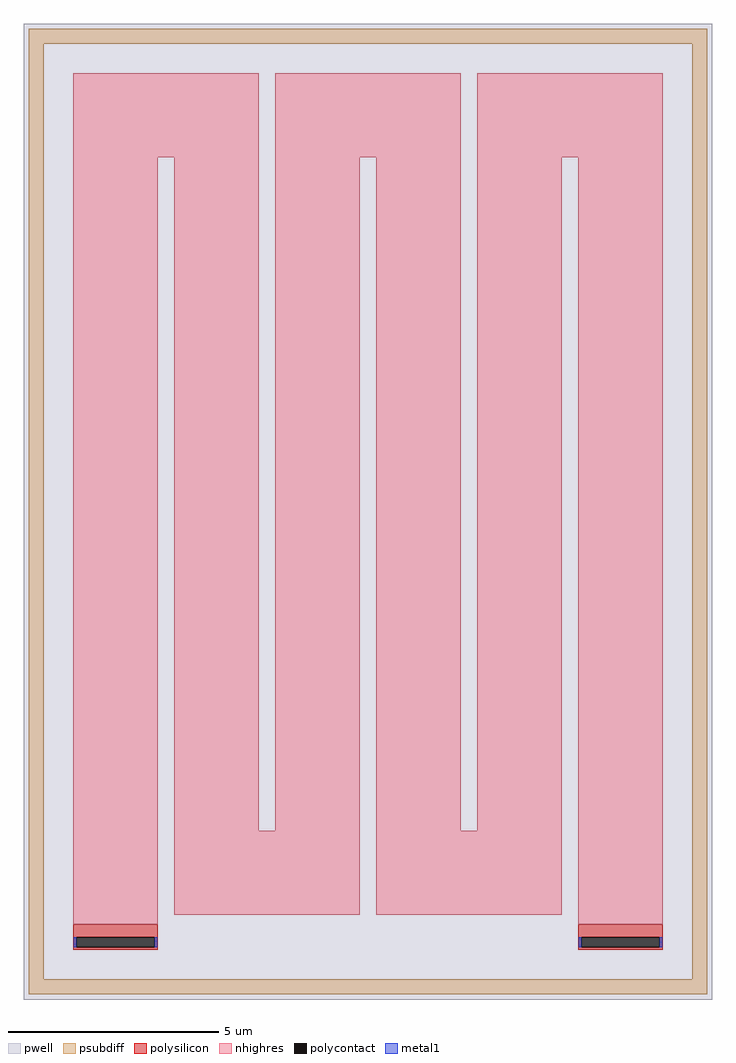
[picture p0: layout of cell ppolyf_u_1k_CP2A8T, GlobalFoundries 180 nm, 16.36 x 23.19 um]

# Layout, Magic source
magic
tech gf180mcuD
magscale 1 10
<< pwell >>
rect -1636 -2319 1636 2319
<< psubdiff >>
rect -1612 2223 1612 2295
rect -1612 -2223 -1540 2223
rect 1540 -2223 1612 2223
rect -1612 -2295 1612 -2223
<< polysilicon >>
rect -1400 -2024 -1000 -1961
rect -1400 -2070 -1387 -2024
rect -1013 -2070 -1000 -2024
rect -1400 -2083 -1000 -2070
rect 1000 -2024 1400 -1961
rect 1000 -2070 1013 -2024
rect 1387 -2070 1400 -2024
rect 1000 -2083 1400 -2070
<< polycontact >>
rect -1387 -2070 -1013 -2024
rect 1013 -2070 1387 -2024
<< nhighres >>
rect -1400 1683 -520 2083
rect -1400 -1961 -1000 1683
rect -920 -1517 -520 1683
rect -440 1683 440 2083
rect -440 -1517 -40 1683
rect -920 -1917 -40 -1517
rect 40 -1517 440 1683
rect 520 1683 1400 2083
rect 520 -1517 920 1683
rect 40 -1917 920 -1517
rect 1000 -1961 1400 1683
<< metal1 >>
rect -1398 -2070 -1387 -2024
rect -1013 -2070 -1002 -2024
rect 1002 -2070 1013 -2024
rect 1387 -2070 1398 -2024
<< properties >>
string FIXED_BBOX -1576 -2259 1576 2259
string gencell ppolyf_u_1k
string library gf180mcu
string parameters w 2 l 20 m 1 nx 6 wmin 1.000 lmin 1.000 class resistor rho 1000 val 66.0k dummy 0 dw 0.0 term 0.0 sterm 0.0 caplen 0.4 snake 1 glc 0 grc 0 gtc 0 gbc 0 roverlap 0 endcov 100 full_metal 0 compatible {ppolyf_u_1k ppolyf_u_1k_6p0}
<< end >>
